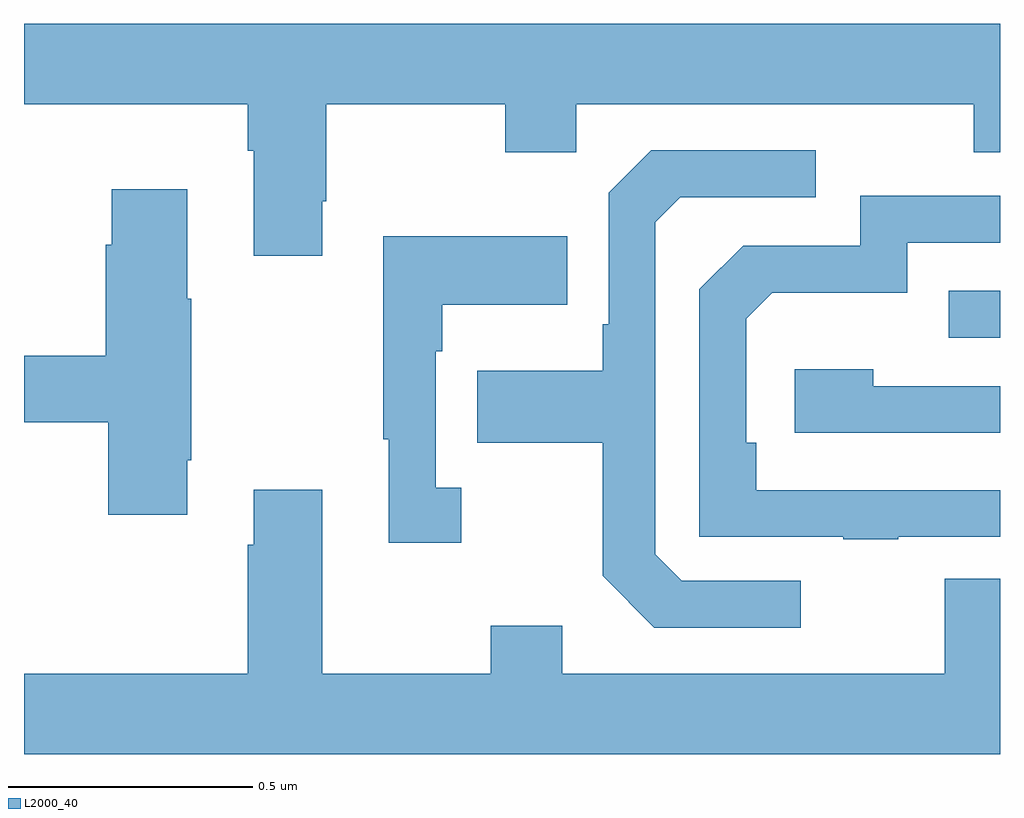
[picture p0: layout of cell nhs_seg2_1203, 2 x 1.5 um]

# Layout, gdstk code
import gdstk
lib = gdstk.Library(unit=1e-6, precision=1e-09)
def R(c, l, rs):  # rectangles x0, y0, x1, y1
    for r in rs: c.add(gdstk.rectangle(r[:2], r[2:], *l))
def P(c, l, *ps):  # polygons
    for p in ps: c.add(gdstk.Polygon(p, *l))
L2000_40 = (2000, 40)

nhs_seg2_1203 = lib.new_cell('nhs_seg2_1203')
R(nhs_seg2_1203, L2000_40, [(126.895,661.809,127,661.905)])
P(nhs_seg2_1203, L2000_40, [(125.611,662.089),(125.619,662.089),(125.619,662.288),(125.986,662.288),(125.986,662.189),(126.132,662.189),(126.132,662.288),(126.946,662.288),(126.946,662.189),(127,662.189),(127,662.452),(125,662.452),(125,662.288),(125.459,662.288),(125.459,662.192),(125.471,662.192),(125.471,661.977),(125.611,661.977)],
  [(126.592,661.311),(126.348,661.311),(126.294,661.365),(126.294,662.046),(126.345,662.097),(126.622,662.097),(126.622,662.193),(126.285,662.193),(126.198,662.106),(126.198,661.837),(126.186,661.837),(126.186,661.741),(125.929,661.741),(125.929,661.594),(126.186,661.594),(126.186,661.321),(126.291,661.215),(126.592,661.215)],
  [(125.335,661.558),(125.343,661.558),(125.343,661.889),(125.335,661.889),(125.335,662.113),(125.18,662.113),(125.18,662),(125.168,662),(125.168,661.772),(125,661.772),(125,661.636),(125.173,661.636),(125.173,661.446),(125.335,661.446)],
  [(126.791,661.401),(127,661.401),(127,661.497),(126.5,661.497),(126.5,661.594),(126.48,661.594),(126.48,661.848),(126.533,661.901),(126.81,661.901),(126.81,662.004),(127,662.004),(127,662.1),(126.714,662.1),(126.714,661.998),(126.474,661.998),(126.384,661.908),(126.384,661.401),(126.679,661.401),(126.679,661.396),(126.791,661.396)],
  [(125.896,661.502),(125.844,661.502),(125.844,661.781),(125.857,661.781),(125.857,661.877),(126.113,661.877),(126.113,662.017),(125.736,662.017),(125.736,661.601),(125.747,661.601),(125.747,661.389),(125.896,661.389)],
  [(127,661.71),(126.74,661.71),(126.74,661.744),(126.579,661.744),(126.579,661.614),(127,661.614)],
  [(127,661.315),(126.887,661.315),(126.887,661.12),(126.103,661.12),(126.103,661.219),(125.956,661.219),(125.956,661.12),(125.611,661.12),(125.611,661.498),(125.471,661.498),(125.471,661.385),(125.459,661.385),(125.459,661.12),(125,661.12),(125,660.956),(127,660.956)])

lib.write_gds('nhs_seg2_1203.gds')
